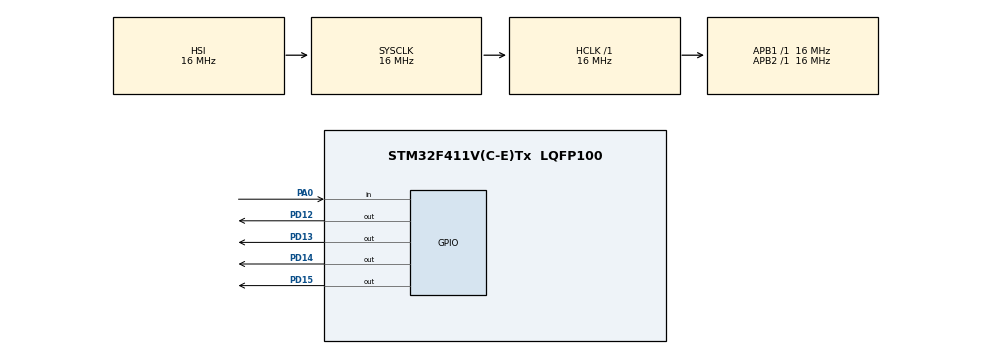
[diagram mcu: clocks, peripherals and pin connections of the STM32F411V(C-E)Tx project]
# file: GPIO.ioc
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Mcu.Family=STM32F4
Mcu.Name=STM32F411V(C-E)Tx
Mcu.Package=LQFP100
NVIC.PriorityGroup=NVIC_PRIORITYGROUP_4
PA0-WKUP.Signal=GPIO_Input
PD12.Signal=GPIO_Output
PD13.Signal=GPIO_Output
PD14.Signal=GPIO_Output
PD15.Signal=GPIO_Output
ProjectManager.HeapSize=0x200
ProjectManager.StackSize=0x400
ProjectManager.TargetToolchain=STM32CubeIDE
RCC.AHBFreq_Value=16000000
RCC.APB1Freq_Value=16000000
RCC.APB2Freq_Value=16000000
RCC.CortexFreq_Value=16000000
RCC.HSE_VALUE=25000000
RCC.HSI_VALUE=16000000
RCC.SYSCLKFreq_VALUE=16000000
RCC.VCOOutputFreq_Value=192000000
board=custom

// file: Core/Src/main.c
/* USER CODE BEGIN Header */

/* USER CODE END Header */
#include "main.h"

void SystemClock_Config(void);
static void MX_GPIO_Init(void);

/* USER CODE BEGIN 0 */

// LED and button
#define LED_PORT        GPIOD
#define LED_PINS_MASK   (GPIO_PIN_12 | GPIO_PIN_13 | GPIO_PIN_14 | GPIO_PIN_15)	// Green, orange, red, blue
#define BUTTON_PORT     GPIOA
#define BUTTON_PIN      GPIO_PIN_0

// Five distinct LED combinations
static const uint16_t patterns[5] =
{
		GPIO_PIN_12,	// 1) PD12 -> Green
		GPIO_PIN_13,	// 2) PD13 -> Orange
		GPIO_PIN_14,	// 3) PD14 -> Red
		GPIO_PIN_15,	// 4) PD15 -> Blue
		GPIO_PIN_12 | GPIO_PIN_14	// 5) PD12 + PD14 -> Green and Red
};

static void MX_GPIO_Init(void);
static inline void LED_Set(uint16_t mask);

/* USER CODE END 0 */

int main(void)
{

  /* MCU Configuration--------------------------------------------------------*/

  /* Reset of all peripherals, Initializes the Flash interface and the Systick. */
  HAL_Init();

  /* Configure the system clock */
  SystemClock_Config();

  /* Initialize all configured peripherals */
  MX_GPIO_Init();
  /* USER CODE BEGIN 2 */
  uint8_t index = 0;
  uint8_t button = 0;	// 0: ready for press, 1: waiting for release
  LED_Set(patterns[index]);	// Show initial combination
  /* USER CODE END 2 */

  /* Infinite loop */
  while (1)
  {

    /* USER CODE BEGIN 3 */

	  {
	      // Debounced edge detection: change exactly once per press
	      if (!button && HAL_GPIO_ReadPin(BUTTON_PORT, BUTTON_PIN) == GPIO_PIN_SET)	// If the button is set to 0 and read pin is PA0
	      {
	        HAL_Delay(20);	// Simple debounce for 20 ms
	        if (HAL_GPIO_ReadPin(BUTTON_PORT, BUTTON_PIN) == GPIO_PIN_SET)	// If HIGH
	        {
	          // Advance to next pattern (reset after 5)
	          index = (uint8_t)((index + 1) % 5);
	          LED_Set(patterns[index]);
	          button = 1;	// Latch until button released
	        }
	      }

	      if (button && HAL_GPIO_ReadPin(BUTTON_PORT, BUTTON_PIN) == GPIO_PIN_RESET)	// Runs only if we’re currently latched and the pin reads LOW.
	      {
	        HAL_Delay(20);	// Debounce release for 20 ms
	        if (HAL_GPIO_ReadPin(BUTTON_PORT, BUTTON_PIN) == GPIO_PIN_RESET)	// If LOW
	        {
	          button = 0;	// Ready for next press
	        }
	      }
	  }
  }
  /* USER CODE END 3 */
}

void SystemClock_Config(void)
{
  RCC_OscInitTypeDef RCC_OscInitStruct = {0};
  RCC_ClkInitTypeDef RCC_ClkInitStruct = {0};

  /** Configure the main internal regulator output voltage
  */
  __HAL_RCC_PWR_CLK_ENABLE();
  __HAL_PWR_VOLTAGESCALING_CONFIG(PWR_REGULATOR_VOLTAGE_SCALE1);

  /** Initializes the RCC Oscillators according to the specified parameters
  * in the RCC_OscInitTypeDef structure.
  */
  RCC_OscInitStruct.OscillatorType = RCC_OSCILLATORTYPE_HSI;
  RCC_OscInitStruct.HSIState = RCC_HSI_ON;
  RCC_OscInitStruct.HSICalibrationValue = RCC_HSICALIBRATION_DEFAULT;
  RCC_OscInitStruct.PLL.PLLState = RCC_PLL_NONE;
  if (HAL_RCC_OscConfig(&RCC_OscInitStruct) != HAL_OK)
  {
    Error_Handler();
  }

  /** Initializes the CPU, AHB and APB buses clocks
  */
  RCC_ClkInitStruct.ClockType = RCC_CLOCKTYPE_HCLK|RCC_CLOCKTYPE_SYSCLK
                              |RCC_CLOCKTYPE_PCLK1|RCC_CLOCKTYPE_PCLK2;
  RCC_ClkInitStruct.SYSCLKSource = RCC_SYSCLKSOURCE_HSI;
  RCC_ClkInitStruct.AHBCLKDivider = RCC_SYSCLK_DIV1;
  RCC_ClkInitStruct.APB1CLKDivider = RCC_HCLK_DIV1;
  RCC_ClkInitStruct.APB2CLKDivider = RCC_HCLK_DIV1;

  if (HAL_RCC_ClockConfig(&RCC_ClkInitStruct, FLASH_LATENCY_0) != HAL_OK)
  {
    Error_Handler();
  }
}

static void MX_GPIO_Init(void)
{
  GPIO_InitTypeDef GPIO_InitStruct = {0};

  /* GPIO Ports Clock Enable */
  __HAL_RCC_GPIOA_CLK_ENABLE();
  __HAL_RCC_GPIOD_CLK_ENABLE();

  // Configure GPIO pin output level
  HAL_GPIO_WritePin(GPIOD, GPIO_PIN_12|GPIO_PIN_13|GPIO_PIN_14|GPIO_PIN_15, GPIO_PIN_RESET);	// Reset all the pins

  // Configure GPIO pin: PA0
  GPIO_InitStruct.Pin = GPIO_PIN_0;
  GPIO_InitStruct.Mode = GPIO_MODE_INPUT;
  GPIO_InitStruct.Pull = GPIO_PULLDOWN;	// Enables the internal pull-down resistor to eliminate potential floating state
  HAL_GPIO_Init(GPIOA, &GPIO_InitStruct);

  // Configure GPIO pins: PD12 PD13 PD14 PD15
  GPIO_InitStruct.Pin = GPIO_PIN_12|GPIO_PIN_13|GPIO_PIN_14|GPIO_PIN_15;
  GPIO_InitStruct.Mode = GPIO_MODE_OUTPUT_PP;
  GPIO_InitStruct.Pull = GPIO_NOPULL;
  GPIO_InitStruct.Speed = GPIO_SPEED_FREQ_LOW;
  HAL_GPIO_Init(GPIOD, &GPIO_InitStruct);

}

/* USER CODE BEGIN 4 */
// Atomically clear all LEDs then set the requested combo
static inline void LED_Set(uint16_t mask)
{
  LED_PORT->BSRR = ((uint32_t)LED_PINS_MASK << 16);	// Reset PD12..PD15
  LED_PORT->BSRR = mask;	// Set PD12..PD15
}
/* USER CODE END 4 */

void Error_Handler(void)
{
  __disable_irq();
  while (1)
  {
  }
}
